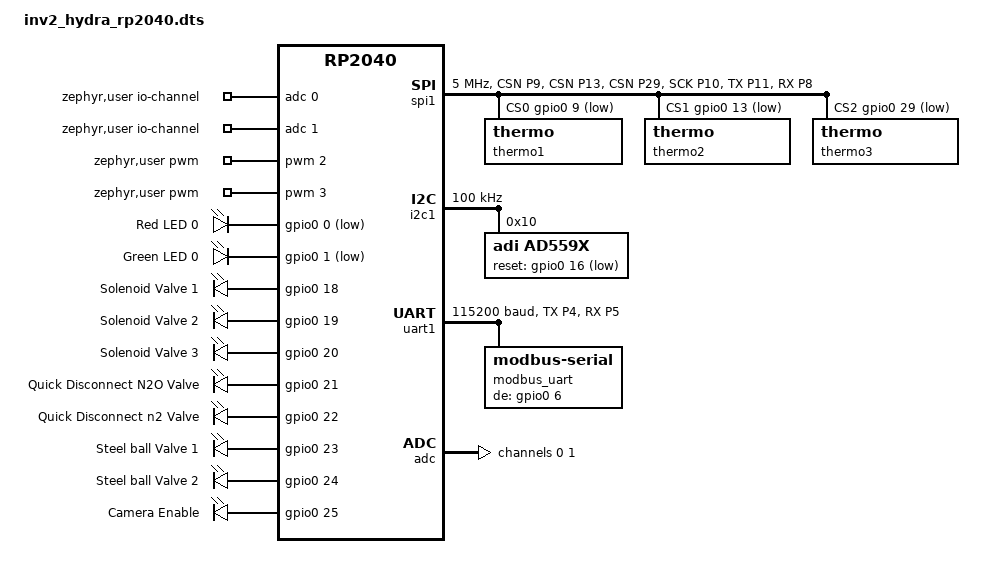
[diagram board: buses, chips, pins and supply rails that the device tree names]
/*
 * Copyright (c) 2021 Yonatan Schachter
 *
 * SPDX-License-Identifier: Apache-2.0
 */

/dts-v1/;

#include <freq.h>
#include <raspberrypi/rpi_pico/rp2040.dtsi>

#include <zephyr/dt-bindings/pwm/pwm.h>
#include <zephyr/dt-bindings/i2c/i2c.h>
#include <zephyr/dt-bindings/adc/adc.h>
#include <zephyr/dt-bindings/pinctrl/rpi-pico-rp2040-pinctrl.h>

#include "common/inv2_pinctrl_common.dtsi"
#include "common/inv2_common.dtsi"

/ {
    aliases {
        led0 = &led_green_0;
        modbus-rtu = &modbus_uart;
        ad559x = &ad559x;
        dac = &ad559x_dac;
    };

    zephyr,user {
        pwms = <&pwm 2 PWM_MSEC(20) PWM_POLARITY_NORMAL>, // Buzzer
               <&pwm 3 PWM_MSEC(20) PWM_POLARITY_NORMAL>; // LV
        io-channels = <&adc 0>, // PCB Temperature
                      <&adc 1>; // Fault Detection
		    dac = <&ad559x_dac>;
		    dac-channel-id = <5 6 7>;
		    dac-resolution = <12>;
    };

    leds {
        compatible = "gpio-leds";
        status = "okay";

        led_red_0: led2 {
            label = "Red LED 0";
            gpios = <&gpio0 0 (GPIO_PULL_UP | GPIO_ACTIVE_LOW)>;
        };

        led_green_0: led0 {
            label = "Green LED 0";
            gpios = <&gpio0 1 (GPIO_PULL_UP | GPIO_ACTIVE_LOW)>;
        };

        sol_valve_1: sol_valve_1{
            label = "Solenoid Valve 1";
            gpios = <&gpio0 18 (GPIO_ACTIVE_HIGH | GPIO_PULL_DOWN)>;
        };

        sol_valve_2: sol_valve_2{
            label = "Solenoid Valve 2";
            gpios = <&gpio0 19 (GPIO_ACTIVE_HIGH | GPIO_PULL_DOWN)>;
        };

        sol_valve_3: sol_valve_3{
            label = "Solenoid Valve 3";
            gpios = <&gpio0 20 (GPIO_ACTIVE_HIGH | GPIO_PULL_DOWN)>;
        };

        qdc_n2o: qdc_n2o{
            label = "Quick Disconnect N2O Valve";
            gpios = <&gpio0 21 (GPIO_ACTIVE_HIGH | GPIO_PULL_DOWN)>;
        };

        qdc_n2: qdc_n2{
            label = "Quick Disconnect n2 Valve";
            gpios = <&gpio0 22 (GPIO_ACTIVE_HIGH | GPIO_PULL_DOWN)>;
        };

        st_valve_1: st_valve_1{
            label = "Steel ball Valve 1";
            gpios = <&gpio0 23 (GPIO_ACTIVE_HIGH | GPIO_PULL_DOWN)>;
        };

        st_valve_2: st_valve_2{
            label = "Steel ball Valve 2";
            gpios = <&gpio0 24 (GPIO_ACTIVE_HIGH | GPIO_PULL_DOWN)>;
        };

        cam_enable: cam_enable{
            label = "Camera Enable";
            gpios = <&gpio0 25 (GPIO_ACTIVE_HIGH | GPIO_PULL_DOWN)>;
        };
    };
};

&spi1 {
	clock-frequency = <DT_FREQ_M(5)>;
	status = "okay";
	pinctrl-0 = <&spi1_hydra>;
	pinctrl-names = "default";

    cs-gpios = <&gpio0 9 GPIO_ACTIVE_LOW>,  // Thermo1
               <&gpio0 13 GPIO_ACTIVE_LOW>, // Thermo2
               <&gpio0 29 GPIO_ACTIVE_LOW>; // Thermo3

    // TODO: correct compatible strings and properties
    thermo1: thermo@0{
        reg = <0>;
        /* compatible = "max31865"; */
        // drdy-gpios = <&gpio0 7 GPIO_ACTIVE_LOW>; // optional, not connected
    };

    thermo2: thermo@1{
        reg = <1>;
        /* compatible = "max31865"; */
        /* drdy-gpios = <&gpio0 12 GPIO_ACTIVE_LOW>; */
    };

    thermo3: thermo@2{
        reg = <2>;
        /* compatible = "max31865"; */
        /* drdy-gpios = <&gpio0 17 GPIO_ACTIVE_LOW>; */
    };
};


&i2c1 {
    status = "okay";
    clock-frequency = <I2C_BITRATE_STANDARD>;
    pinctrl-0 = <&i2c1_hydras>;
    pinctrl-names = "default";

    ad559x: ad559x@10 {
        compatible = "adi,ad559x";
        status = "okay";
        reg = <0x10>;
        reset-gpios = <&gpio0 16 GPIO_ACTIVE_LOW>;

        ad559x_dac: dac-controller {
          compatible = "adi,ad559x-dac";
          status = "okay";
          #io-channel-cells = <1>;
        };

      ad559x_adc: adc-controller {
          compatible = "adi,ad559x-adc";
          status = "okay";
          #io-channel-cells = <1>;
          #address-cells = <1>;
          #size-cells = <0>;

          channel@0 {
              reg = <0>;
              zephyr,gain = "ADC_GAIN_1";
              zephyr,reference = "ADC_REF_INTERNAL";
              zephyr,acquisition-time = <ADC_ACQ_TIME_DEFAULT>;
              zephyr,resolution = <12>;
          };

          channel@1 {
              reg = <1>;
              zephyr,gain = "ADC_GAIN_1";
              zephyr,reference = "ADC_REF_INTERNAL";
              zephyr,acquisition-time = <ADC_ACQ_TIME_DEFAULT>;
              zephyr,resolution = <12>;
          };

          channel@2 {
              reg = <2>;
              zephyr,gain = "ADC_GAIN_1";
              zephyr,reference = "ADC_REF_INTERNAL";
              zephyr,acquisition-time = <ADC_ACQ_TIME_DEFAULT>;
              zephyr,resolution = <12>;
          };

          channel@3 {
              reg = <3>;
              zephyr,gain = "ADC_GAIN_1";
              zephyr,reference = "ADC_REF_INTERNAL";
              zephyr,acquisition-time = <ADC_ACQ_TIME_DEFAULT>;
              zephyr,resolution = <12>;
          };
        };
    };
};

// RS483 Modbus RTU master
&uart1 {
	current-speed = <115200>;
	status = "okay";
	pinctrl-0 = <&uart_rs485>;
	pinctrl-names = "default";

    modbus_uart: modbus0{
        compatible = "zephyr,modbus-serial";
        status = "okay";
        de-gpios = <&gpio0 6 GPIO_ACTIVE_HIGH>;
    };
};

&adc{
    #io-channel-cells = <1>;
    #address-cells = <1>;
    #size-cells = <0>;
    status = "okay";

    channel@0 {
        reg = <0>;
        zephyr,gain = "ADC_GAIN_1";
        zephyr,reference = "ADC_REF_INTERNAL";
        zephyr,acquisition-time = <ADC_ACQ_TIME_DEFAULT>;
        zephyr,resolution = <12>;
    };

    channel@1 {
        reg = <1>;
        zephyr,gain = "ADC_GAIN_1";
        zephyr,reference = "ADC_REF_INTERNAL";
        zephyr,acquisition-time = <ADC_ACQ_TIME_DEFAULT>;
        zephyr,resolution = <12>;
    };
};

&pinctrl{
	spi1_hydra: spi1_hydra {
		group1 {
			pinmux = <SPI1_CSN_P9>, <SPI1_CSN_P13>, <SPI1_CSN_P29>,
                     <SPI1_SCK_P10>, <SPI1_TX_P11>;
		};
		group2 {
			pinmux = <SPI1_RX_P8>;
			input-enable;
		};
	};

	uart_rs485: uart_rs485 {
		group1 {
			pinmux = <UART1_TX_P4>;
		};
		group2 {
			pinmux = <UART1_RX_P5>;
			input-enable;
		};
	};

i2c1_hydras: i2c1_hydras {
        group1 {
            pinmux = <I2C1_SDA_P14>, <I2C1_SCL_P15>;
            input-enable;
            input-schmitt-enable;
            bias-pull-up;
        };
    };
};
